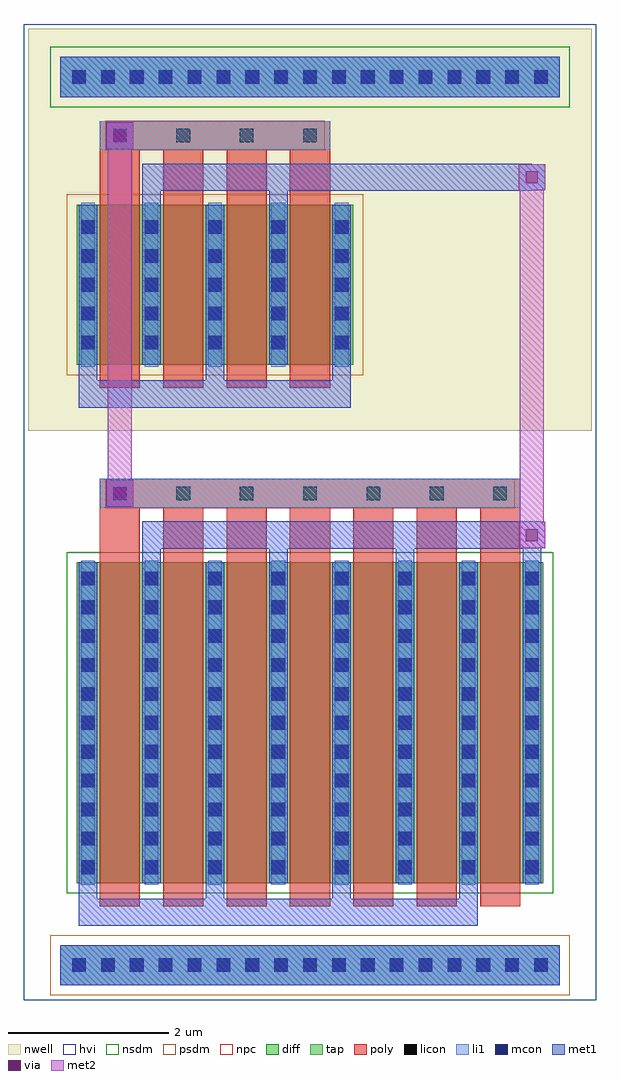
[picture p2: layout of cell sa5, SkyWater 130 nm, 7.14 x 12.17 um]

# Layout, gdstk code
import gdstk
lib = gdstk.Library(unit=1e-6, precision=1e-09)
def R(c, l, rs):  # rectangles x0, y0, x1, y1
    for r in rs: c.add(gdstk.rectangle(r[:2], r[2:], *l))
def A(c, l, x, y, w, h, nx, ny, dx, dy):  # array of equal rectangles
    R(c, l, [(x+i*dx, y+j*dy, x+i*dx+w, y+j*dy+h) for i in range(nx) for j in range(ny)])
def P(c, l, *ps):  # polygons
    for p in ps: c.add(gdstk.Polygon(p, *l))
nwell = (64, 20)
diff = (65, 20)
tap = (65, 44)
poly = (66, 20)
licon = (66, 44)
li1 = (67, 20)
mcon = (67, 44)
met1 = (68, 20)
via = (68, 44)
met2 = (69, 20)
hvi = (75, 20)
nsdm = (93, 44)
psdm = (94, 20)
npc = (95, 20)

sa5 = lib.new_cell('sa5')
R(sa5, nwell, [(-0.4,6.91,6.62,11.92)])
R(sa5, diff, [(0.2,1.27,6.02,5.27), (0.2,7.73,3.65,9.73)])
R(sa5, tap, [(0,0,6.22,0.5), (0,11.07,6.22,11.57)])
A(sa5, poly, 0.49, 0.985, 0.5, 4.57, 7, 1, 0.79, 0)
A(sa5, poly, 0.49, 5.27, 0.5, 0.86, 7, 1, 0.79, 0)
A(sa5, poly, 0.49, 7.445, 0.5, 2.57, 4, 1, 0.79, 0)
A(sa5, poly, 0.49, 9.73, 0.5, 0.86, 4, 1, 0.79, 0)
R(sa5, poly, [(0.49,5.95,5.73,6.31), (0.49,10.41,3.36,10.77)])
A(sa5, licon, 0.145, 0.165, 0.17, 0.17, 17, 2, 0.36, 11.07)
A(sa5, licon, 0.26, 1.385, 0.17, 0.17, 8, 11, 0.79, 0.36)
A(sa5, licon, 0.655, 6.045, 0.17, 0.17, 7, 1, 0.79, 0)
A(sa5, licon, 0.26, 7.925, 0.17, 0.17, 5, 5, 0.79, 0.36)
A(sa5, licon, 0.655, 10.505, 0.17, 0.17, 4, 1, 0.79, 0)
A(sa5, li1, 0.26, 1.25, 0.17, 4.04, 8, 1, 0.79, 0)
A(sa5, li1, 0.26, 7.71, 0.17, 2.04, 5, 1, 0.79, 0)
R(sa5, li1, [(0,0,6.22,0.5), (0.49,5.95,5.73,6.31), (0.49,10.41,3.36,10.77), (0,11.07,6.22,11.57)])
A(sa5, mcon, 0.145, 0.165, 0.17, 0.17, 17, 2, 0.36, 11.07)
A(sa5, mcon, 0.26, 1.385, 0.17, 0.17, 8, 11, 0.79, 0.36)
A(sa5, mcon, 0.26, 7.925, 0.17, 0.17, 5, 5, 0.79, 0.36)
R(sa5, mcon, [(0.655,6.045,0.825,6.215), (0.655,10.505,0.825,10.675)])
A(sa5, met1, 0.23, 0.74, 0.23, 0.53, 4, 1, 1.58, 0)
A(sa5, met1, 0.23, 1.27, 0.23, 4, 8, 1, 0.79, 0)
A(sa5, met1, 1.02, 5.27, 0.23, 0.51, 4, 1, 1.58, 0)
A(sa5, met1, 0.23, 7.2, 0.23, 0.53, 3, 1, 1.58, 0)
A(sa5, met1, 0.23, 7.73, 0.23, 2, 5, 1, 0.79, 0)
R(sa5, met1, [(0,0,6.22,0.5), (0.23,0.74,5.2,1.08), (1.02,5.44,5.99,5.78), (5.71,5.445,6.04,5.775), (0.57,5.96,0.91,6.3), (0.575,5.965,0.905,6.295), (0.23,7.2,3.62,7.54), (1.02,9.73,1.25,10.24), (2.6,9.73,2.83,10.24), (1.02,9.9,2.83,10.24), (2.715,9.9,5.875,10.24), (5.71,9.905,6.04,10.235), (0.57,10.42,0.91,10.76), (0.575,10.425,0.905,10.755), (0,11.07,6.22,11.57)])
P(sa5, met1, [(5.875,5.44),(5.875,5.78),(5.875,5.78),(5.875,5.44)])
R(sa5, via, [(5.8,5.535,5.95,5.685), (0.665,6.055,0.815,6.205), (5.8,9.995,5.95,10.145), (0.665,10.515,0.815,10.665)])
R(sa5, met2, [(5.71,5.445,6.04,5.775), (5.725,5.61,6.025,10.07), (0.575,5.965,0.905,6.295), (0.59,6.13,0.89,10.59), (5.71,9.905,6.04,10.235), (0.575,10.425,0.905,10.755)])
R(sa5, hvi, [(-0.46,-0.185,6.68,11.98)])
R(sa5, nsdm, [(0.075,1.145,6.145,5.395), (-0.125,10.945,6.345,11.695)])
R(sa5, psdm, [(-0.125,-0.125,6.345,0.625), (0.075,7.605,3.775,9.855)])
R(sa5, npc, [(0.555,5.945,5.665,6.315), (0.555,10.405,3.295,10.775)])

lib.write_gds('sa5.gds')
